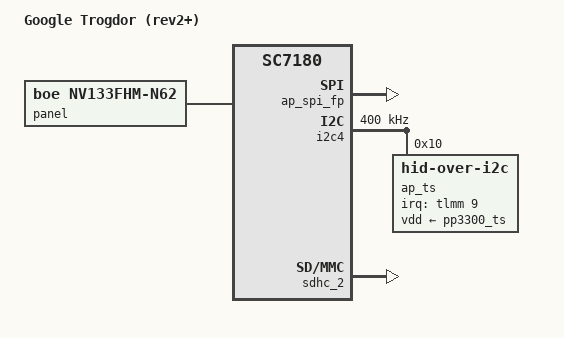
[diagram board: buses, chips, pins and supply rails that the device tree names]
// SPDX-License-Identifier: (GPL-2.0+ OR MIT)
/*
 * Google Trogdor board device tree source
 *
 * Copyright 2021 Google LLC.
 */

/dts-v1/;

#include "sc7180.dtsi"

ap_ec_spi: &spi6 {};
ap_h1_spi: &spi0 {};

#include "sc7180-trogdor.dtsi"

/ {
	model = "Google Trogdor (rev2+)";
	compatible = "google,trogdor", "qcom,sc7180";
};

&ap_spi_fp {
	status = "okay";
};

&sn65dsi86_out {
	/*
	 * This board will end up being used with the same panel (and cable)
	 * as lazor but has the mappings on the board as per trogdor. Thus we
	 * end up with the same problems as lazor-rev0 and need to do a swap
	 * here.
	 */
	lane-polarities = <1 0>;
};

ap_ts_pen_1v8: &i2c4 {
	status = "okay";
	clock-frequency = <400000>;

	ap_ts: touchscreen@10 {
		compatible = "hid-over-i2c";
		reg = <0x10>;
		pinctrl-names = "default";
		pinctrl-0 = <&ts_int_l>, <&ts_reset_l>;

		interrupt-parent = <&tlmm>;
		interrupts = <9 IRQ_TYPE_LEVEL_LOW>;

		post-power-on-delay-ms = <20>;
		hid-descr-addr = <0x0001>;

		vdd-supply = <&pp3300_ts>;
	};
};

&panel {
	compatible = "boe,nv133fhm-n62";
};

&pp3300_dx_edp {
	gpio = <&tlmm 67 GPIO_ACTIVE_HIGH>;
};

&sdhc_2 {
	status = "okay";
};

/* PINCTRL - modifications to sc7180-trogdor.dtsi */

&en_pp3300_dx_edp {
	pinmux {
		pins = "gpio67";
	};

	pinconf {
		pins = "gpio67";
	};
};

/* PINCTRL - board-specific pinctrl */

&tlmm {
	gpio-line-names = "TP_INT_L",		/* 0 */
			  "AP_RAM_ID0",
			  "AP_SKU_ID2",
			  "AP_RAM_ID1",
			  "FP_TO_AP_IRQ_L",
			  "AP_RAM_ID2",
			  "AP_TP_I2C_SDA",
			  "AP_TP_I2C_SCL",
			  "TS_RESET_L",
			  "TS_INT_L",
			  "FPMCU_BOOT0",	/* 10 */
			  "EDP_BRIJ_IRQ",
			  "AP_EDP_BKLTEN",
			  "",
			  "",
			  "EDP_BRIJ_I2C_SDA",
			  "EDP_BRIJ_I2C_SCL",
			  "HUB_RST_L",
			  "",
			  "",
			  "",			/* 20 */
			  "PEN_IRQ_L",
			  "FP_RST_L",
			  "AMP_EN",
			  "P_SENSOR_INT_L",
			  "AP_SAR_SENSOR_SDA",
			  "AP_SAR_SENSOR_SCL",
			  "",
			  "HP_IRQ",
			  "",
			  "",			/* 30 */
			  "AP_BRD_ID2",
			  "BRIJ_SUSPEND",
			  "AP_BRD_ID0",
			  "AP_H1_SPI_MISO",
			  "AP_H1_SPI_MOSI",
			  "AP_H1_SPI_CLK",
			  "AP_H1_SPI_CS_L",
			  "BT_UART_CTS",
			  "BT_UART_RTS",
			  "BT_UART_TXD",	/* 40 */
			  "BT_UART_RXD",
			  "H1_AP_INT_ODL",
			  "",
			  "UART_AP_TX_DBG_RX",
			  "UART_DBG_TX_AP_RX",
			  "HP_I2C_SDA",
			  "HP_I2C_SCL",
			  "FORCED_USB_BOOT",
			  "AMP_BCLK",
			  "AMP_LRCLK",		/* 50 */
			  "AMP_DIN",
			  "PEN_PDCT_L",
			  "HP_BCLK",
			  "HP_LRCLK",
			  "HP_DOUT",
			  "HP_DIN",
			  "HP_MCLK",
			  "AP_SKU_ID0",
			  "AP_EC_SPI_MISO",
			  "AP_EC_SPI_MOSI",	/* 60 */
			  "AP_EC_SPI_CLK",
			  "AP_EC_SPI_CS_L",
			  "AP_SPI_CLK",
			  "AP_SPI_MOSI",
			  "AP_SPI_MISO",
			  /*
			   * AP_FLASH_WP_L is crossystem ABI. Schematics
			   * call it BIOS_FLASH_WP_L.
			   */
			  "AP_FLASH_WP_L",
			  "EN_PP3300_DX_EDP",
			  "AP_SPI_CS0_L",
			  "SD_CD_ODL",
			  "RFFE6_CLK",		/* 70 */
			  "RFFE6_DATA",
			  "",
			  "WLAN_SW_CTRL",
			  "EN_FP_RAILS",
			  "UIM2_DATA",
			  "UIM2_CLK",
			  "UIM2_RST",
			  "UIM2_PRESENT_L",
			  "UIM1_DATA",
			  "UIM1_CLK",		/* 80 */
			  "UIM1_RST",
			  "",
			  "CODEC_PWR_EN",
			  "HUB_EN",
			  "WMSS_RESET_L",
			  "AP_SPI_FP_MISO",
			  "AP_SPI_FP_MOSI",
			  "AP_SPI_FP_CLK",
			  "AP_SPI_FP_CS_L",
			  "AP_SKU_ID1",		/* 90 */
			  "AP_RST_REQ",
			  "RFFE4_CLK",
			  "AP_BRD_ID1",
			  "AP_EC_INT_L",
			  "SDM_GRFC_3",
			  "QLINK_REQ",
			  "QLINK_EN",
			  "BOOT_CONFIG_4",
			  "BOOT_CONFIG_2",
			  "SDM_GRFC_1",		/* 100 */
			  "RFFE3_DATA",
			  "RFFE3_CLK",
			  "RFFE4_DATA",
			  "EDP_BRIJ_EN",
			  "",
			  "",
			  "BOOT_CONFIG_3",
			  "WCI2_LTE_COEX_TXD",
			  "WCI2_LTE_COEX_RXD",
			  "RFFE2_DATA",		/* 110 */
			  "RFFE2_CLK",
			  "RFFE1_DATA",
			  "RFFE1_CLK",
			  "FORCED_USB_BOOT_POL",
			  "AP_TS_PEN_I2C_SDA",
			  "AP_TS_PEN_I2C_SCL",
			  "DP_HOT_PLUG_DET",
			  "EC_IN_RW_ODL";
};
